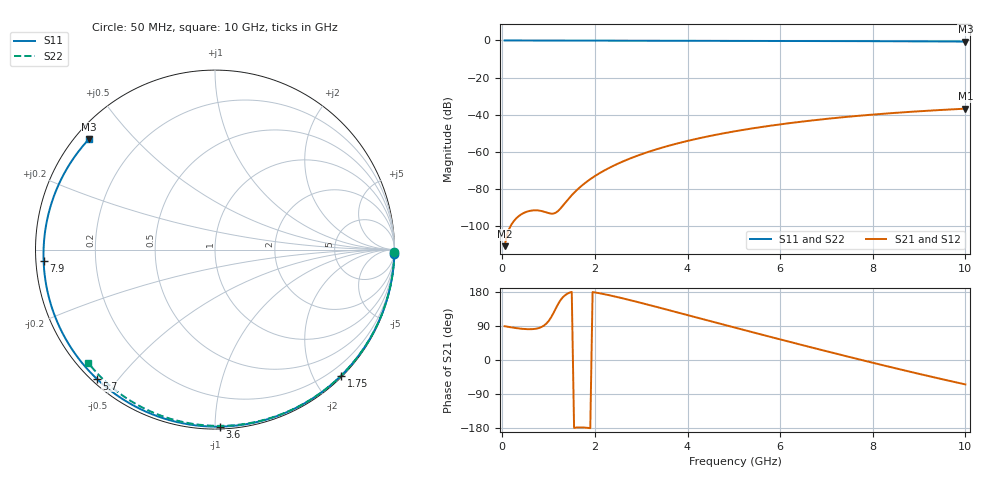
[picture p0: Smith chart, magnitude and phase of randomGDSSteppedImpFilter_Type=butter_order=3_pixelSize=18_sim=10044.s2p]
! freq	dB(S11)	phase(S11)	dB(S12)	phase(S12)
!  dB(S21)	phase(S21)	dB(S22)	phase(S22)
!S-par simulation data
#  GHz  S  DB  R 50
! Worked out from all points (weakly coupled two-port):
!   200 points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, 50 MHz to 10 GHz, reference 50 ohm
!   highest |S21| = -36.83 dB at 10 GHz (marker M1); lowest = -111.1 dB at 50 MHz (marker M2)
!   lowest |S11| = -0.6 dB at 10 GHz (marker M3), VSWR 29.30, Z = 1.95 + j18.8 ohm
!   |S11| at or under -10 dB: nowhere
!   |S22| runs from -0.5 to 0.0 dB; largest |S21 - S12| = 0
!   S11 on the Smith chart (normalised r, x): 50 MHz: 0, -86; 1.75 GHz: 0.02, -2.42; 3.6 GHz: 0.01, -1.03; 5.7 GHz: 0.01, -0.44; 7.9 GHz: 0.02, -0.03; 10 GHz: 0.04, +0.38
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0.05  -0.00 -1.3  -111.06 89.1  -111.06 89.1  -0.00 -0.8
0.4  -0.01 -10.5  -94.03 82.6  -94.03 82.6  -0.01 -6.4
0.8  -0.03 -20.9  -91.85 84.8  -91.85 84.8  -0.02 -12.7
1.2  -0.04 -31.1  -92.16 146.6  -92.16 146.6  -0.02 -19.0
1.6  -0.05 -41.2  -80.99 -178.2  -80.99 -178.2  -0.03 -25.2
1.65  -0.05 -42.5  -79.83 -177.9  -79.83 -177.9  -0.03 -26.0
1.75  -0.06 -45.0  -77.70 -178.1  -77.70 -178.1  -0.04 -27.6
2.05  -0.07 -52.3  -72.42 177.3  -72.42 177.3  -0.04 -32.2
2.45  -0.08 -62.0  -67.06 167.1  -67.06 167.1  -0.05 -38.3
2.9  -0.09 -72.6  -62.37 153.7  -62.37 153.7  -0.06 -45.0
3.4  -0.11 -84.0  -58.23 137.9  -58.23 137.9  -0.07 -52.4
3.6  -0.12 -88.5  -56.80 131.5  -56.80 131.5  -0.07 -55.4
4.3  -0.14 -103.7  -52.53 108.8  -52.53 108.8  -0.09 -65.4
5.05  -0.18 -119.4  -48.91 84.6  -48.91 84.6  -0.12 -75.8
5.7  -0.21 -132.5  -46.34 63.8  -46.34 63.8  -0.14 -84.6
6.2  -0.25 -142.5  -44.65 48.1  -44.65 48.1  -0.16 -91.2
6.7  -0.28 -152.4  -43.15 32.4  -43.15 32.4  -0.19 -97.6
7.3  -0.33 -164.3  -41.58 13.9  -41.58 13.9  -0.23 -105.3
7.9  -0.38 -176.4  -40.23 -4.3  -40.23 -4.3  -0.27 -112.7
8.35  -0.42 174.5  -39.34 -17.7  -39.34 -17.7  -0.30 -118.2
9.2  -0.51 156.5  -37.92 -42.3  -37.92 -42.3  -0.38 -128.5
10  -0.59 138.7  -36.83 -64.4  -36.83 -64.4  -0.48 -138.2
